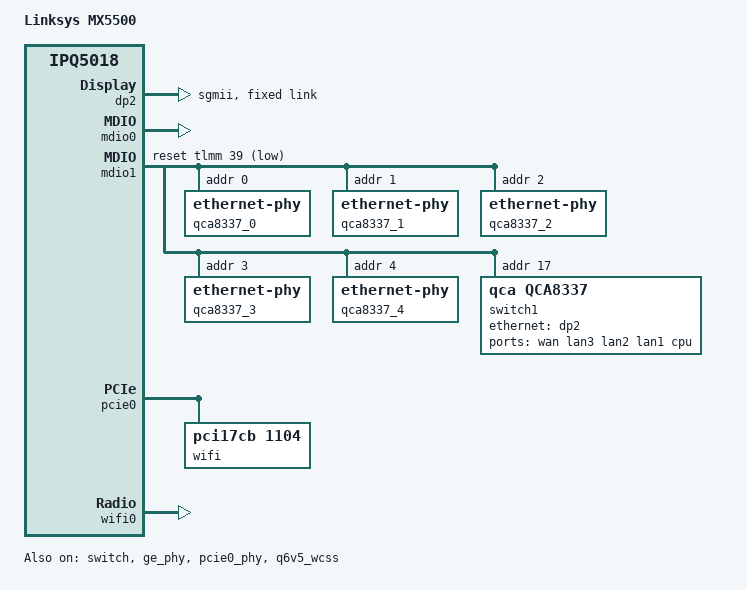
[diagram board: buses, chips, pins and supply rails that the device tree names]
/dts-v1/;

#include "ipq5018.dtsi"
#include "ipq5018-mx-base.dtsi"

/ {
	model = "Linksys MX5500";
	compatible = "linksys,mx5500", "qcom,ipq5018";
};

/*
 * ===============================================================
 *     _______________________         _______________________
 *    |        IPQ5018        |       |        QCA8337        |
 *    | +------+   +--------+ |       | +--------+   +------+ |
 *    | | MAC0 |---| GE Phy | |       | |  Phy0  |---| MAC1 | |
 *    | +------+   +--------+ |       | +--------+   +------+ |
 *    | +------+   +--------+ |       | +--------+   +------+ |
 *    | | MAC1 |---| Uniphy |-+-SGMII-+-| SerDes |---| MAC6 | |
 *    | +------+   +--------+ |       | +--------+   +------+ |
 *    |_______________________|       |_______________________|
 *
 * ===============================================================
 */

&switch {
	status = "okay";

	switch_mac_mode = <MAC_MODE_SGMII_CHANNEL0>;

	qcom,port_phyinfo {
		// MAC0 -> GE Phy -> QCA8337 Phy4
		port@0 {
			port_id = <1>;
			mdiobus = <&mdio0>;
			phy_address = <7>;
		};

		// MAC1 ---SGMII---> QCA8337 SerDes
		port@1 {
			port_id = <2>;
			forced-speed = <1000>;
			forced-duplex = <1>;
		};
	};
};

// MAC1 ---SGMII---> QCA8337 SerDes
&dp2 {
	status = "okay";
	phy-mode = "sgmii";

	fixed-link {
		speed = <1000>;
		full-duplex;
	};
};

&mdio0 {
	status = "okay";
};

/* IPQ5018 GE Phy -> Not connected
 * needs to be enabled for QSDK to identify the IPQ5018 dummy switch
 */
&ge_phy {
	status = "okay";
};

&mdio1 {
	status = "okay";

	pinctrl-0 = <&mdio1_pins>;
	pinctrl-names = "default";
	reset-gpios = <&tlmm 39 GPIO_ACTIVE_LOW>;

	// QCA8337 Phy0 not connected
	qca8337_0: ethernet-phy@0 {
		reg = <0>;
	};

	// QCA8337 Phy1 -> WAN
	qca8337_1: ethernet-phy@1 {
		reg = <1>;
	};

	// QCA8337 Phy2 -> LAN1
	qca8337_2: ethernet-phy@2 {
		reg = <2>;
	};

	// QCA8337 Phy3 -> LAN2
	qca8337_3: ethernet-phy@3 {
		reg = <3>;
	};

	// QCA8337 Phy4 -> LAN3
	qca8337_4: ethernet-phy@4 {
		reg = <4>;
	};

	// QCA8337 switch
	switch1: ethernet-switch@17 {
		compatible = "qca,qca8337";
		reg = <17>;
		#address-cells = <1>;
		#size-cells = <0>;

		ports {
			#address-cells = <1>;
			#size-cells = <0>;

			port@2 {
				reg = <2>;
				label = "wan";
				phy-handle = <&qca8337_1>;
			};

			port@3 {
				reg = <3>;
				label = "lan3";
				phy-handle = <&qca8337_2>;
			};

			port@4 {
				reg = <4>;
				label = "lan2";
				phy-handle = <&qca8337_3>;
			};

			port@5 {
				reg = <5>;
				label = "lan1";
				phy-handle = <&qca8337_4>;
			};

			port@6 {
				reg = <6>;
				label = "cpu";
				phy-mode = "sgmii";
				ethernet = <&dp2>;
				qca,sgmii-enable-pll;

				fixed-link {
					speed = <1000>;
					full-duplex;
				};
			};
		};
	};
};

&pcie0_phy {
	status = "okay";
};

&pcie0 {
	status = "okay";

	perst-gpios = <&tlmm 15 GPIO_ACTIVE_LOW>;

	bridge@0,0 {
		reg = <0x00000000 0 0 0 0>;
		#address-cells = <3>;
		#size-cells = <2>;
		ranges;

		wifi@1,0 {
			status = "okay";

			/* QCN9074: ath11k lacks DT compatible for PCI cards */
			compatible = "pci17cb,1104";
			reg = <0x00010000 0 0 0 0>;

			qcom,ath11k-calibration-variant = "Linksys-MX5500";
		};
	};
};

&q6v5_wcss {
	status = "okay";

	memory-region = <&q6_mem_regions>;
	firmware-name = "ath11k/IPQ5018/hw1.0/q6_fw.mdt",
					"ath11k/IPQ5018/hw1.0/m3_fw.mdt";

	// IPQ5018
	q6_wcss_pd1: pd-1 {
		firmware-name = "ath11k/IPQ5018/hw1.0/q6_fw.mdt";

		resets =
			<&gcc GCC_WCSSAON_RESET>,
			<&gcc GCC_WCSS_BCR>,
			<&gcc GCC_CE_BCR>;
		reset-names =
			"wcss_aon_reset",
			"wcss_reset",
			"ce_reset";

		clocks =
			<&gcc GCC_WCSS_AHB_S_CLK>,
			<&gcc GCC_WCSS_ACMT_CLK>,
			<&gcc GCC_WCSS_AXI_M_CLK>;
		clock-names =
			"gcc_wcss_ahb_s_clk",
			"gcc_wcss_acmt_clk",
			"gcc_wcss_axi_m_clk";

		interrupts-extended =
			<&wcss_smp2p_in 8 0>,
			<&wcss_smp2p_in 9 0>,
			<&wcss_smp2p_in 12 0>,
			<&wcss_smp2p_in 11 0>;
		interrupt-names =
			"fatal",
			"ready",
			"spawn-ack",
			"stop-ack";

		qcom,smem-states =
			<&wcss_smp2p_out 8>,
			<&wcss_smp2p_out 9>,
			<&wcss_smp2p_out 10>;
		qcom,smem-state-names =
			"shutdown",
			"stop",
			"spawn";
		status = "okay";
	};
};

&wifi0 {
	// IPQ5018
	qcom,rproc = <&q6_wcss_pd1>;
	qcom,ath11k-calibration-variant = "Linksys-MX5500";
	qcom,ath11k-fw-memory-mode = <2>;
	qcom,bdf-addr = <0x4c400000>;

	status = "okay";
};
